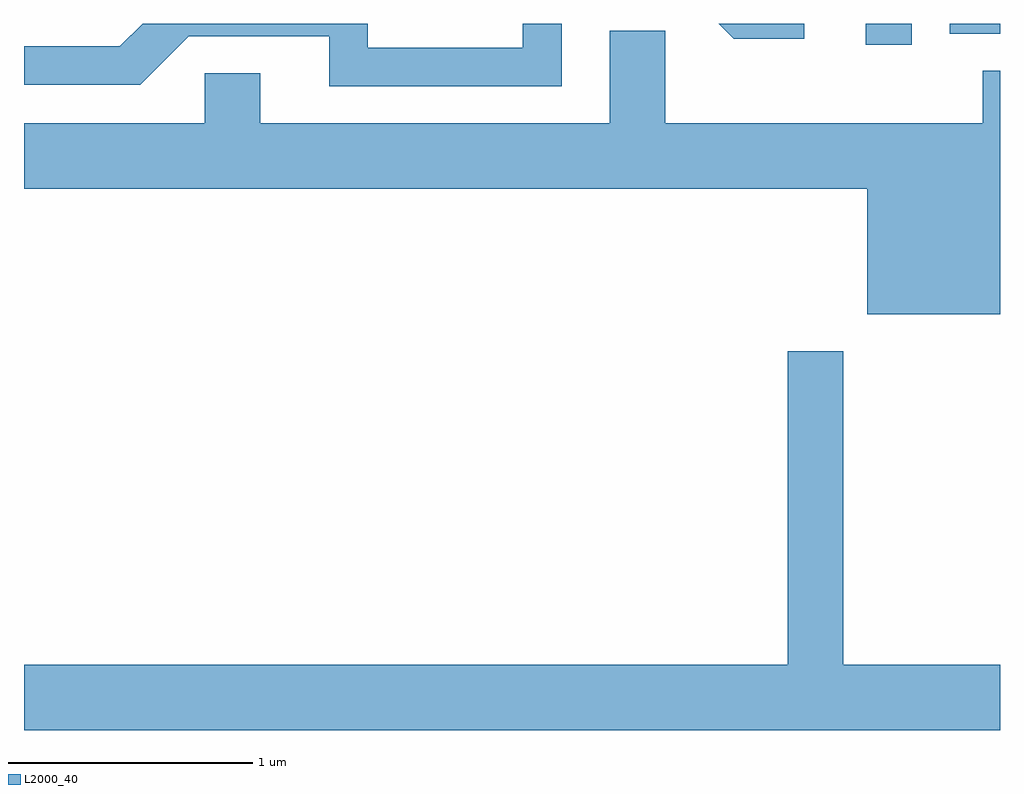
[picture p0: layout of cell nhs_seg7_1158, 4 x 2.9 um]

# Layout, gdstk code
import gdstk
lib = gdstk.Library(unit=1e-6, precision=1e-09)
def R(c, l, rs):  # rectangles x0, y0, x1, y1
    for r in rs: c.add(gdstk.rectangle(r[:2], r[2:], *l))
def P(c, l, *ps):  # polygons
    for p in ps: c.add(gdstk.Polygon(p, *l))
L2000_40 = (2000, 40)

nhs_seg7_1158 = lib.new_cell('nhs_seg7_1158')
R(nhs_seg7_1158, L2000_40, [(223.061,1788.166,223.249,1788.252), (223.406,1788.211,223.611,1788.252)])
P(nhs_seg7_1158, L2000_40, [(221.814,1788.252),(221.656,1788.252),(221.656,1788.154),(221.019,1788.154),(221.019,1788.252),(220.097,1788.252),(220.004,1788.159),(219.611,1788.159),(219.611,1788.001),(220.087,1788.001),(220.287,1788.201),(220.861,1788.201),(220.861,1787.996),(221.814,1787.996)],
  [(222.808,1788.252),(222.458,1788.252),(222.519,1788.191),(222.808,1788.191)],
  [(223.611,1788.059),(223.541,1788.059),(223.541,1787.844),(222.239,1787.844),(222.239,1788.224),(222.011,1788.224),(222.011,1787.844),(220.579,1787.844),(220.579,1788.049),(220.351,1788.049),(220.351,1787.844),(219.611,1787.844),(219.611,1787.576),(223.066,1787.576),(223.066,1787.061),(223.611,1787.061)],
  [(223.611,1785.624),(222.969,1785.624),(222.969,1786.909),(222.741,1786.909),(222.741,1785.624),(219.611,1785.624),(219.611,1785.356),(223.611,1785.356)])

lib.write_gds('nhs_seg7_1158.gds')
